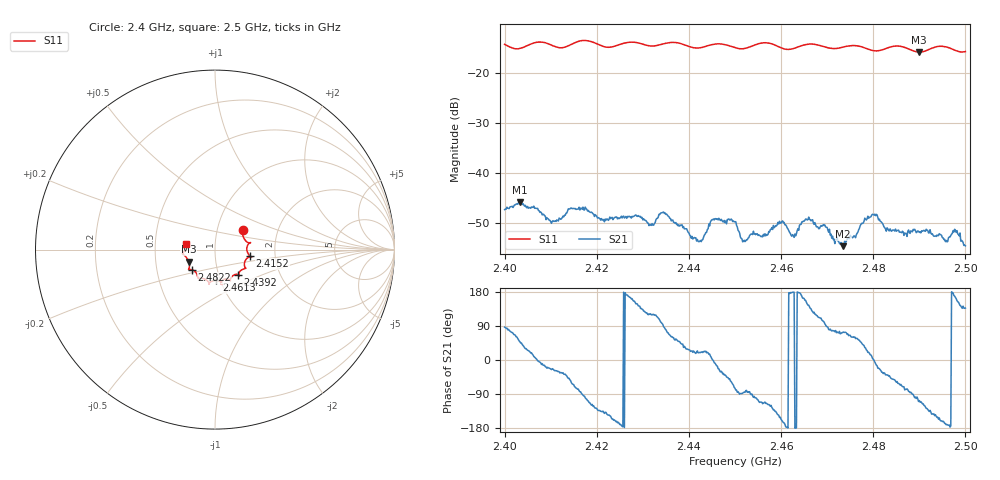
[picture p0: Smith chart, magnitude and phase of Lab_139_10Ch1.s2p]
# Hz S RI R 50
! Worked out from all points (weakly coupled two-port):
!   601 points, 2.4 GHz to 2.5 GHz, reference 50 ohm
!   highest |S21| = -45.77 dB at 2.4033 GHz (marker M1); lowest = -54.6 dB at 2.4735 GHz (marker M2)
!   lowest |S11| = -15.9 dB at 2.4898 GHz (marker M3), VSWR 1.38, Z = 37 - j5.04 ohm
!   |S11| at or under -10 dB: start of sweep to end of sweep
!   S12 and S22 are empty: the file has one direction only
!   S11 on the Smith chart (normalised r, x): 2.4 GHz: 1.33, +0.31; 2.4152 GHz: 1.48, -0.11; 2.4392 GHz: 1.23, -0.36; 2.4613 GHz: 0.96, -0.34; 2.4822 GHz: 0.76, -0.17; 2.5 GHz: 0.72, +0.05
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2.4e9  0.1559 0.1113  0.000247 0.00432  0 0  0 0
2.403333e9  0.1648 0.0568  0.00345 0.00382  0 0  0 0
2.410333e9  0.1847 0.0287  0.00304 -0.00129  0 0  0 0
2.415167e9  0.1947 -0.0356  0.0015 -0.00416  0 0  0 0
2.416667e9  0.2043 -0.0418  0.000159 -0.00446  0 0  0 0
2.421167e9  0.1774 -0.0497  -0.00247 -0.00235  0 0  0 0
2.433333e9  0.1333 -0.1323  -0.0013 0.0034  0 0  0 0
2.439167e9  0.1272 -0.1388  0.00232 0.00155  0 0  0 0
2.4425e9  0.0942 -0.1501  0.00201 0.000711  0 0  0 0
2.445333e9  0.0846 -0.1722  0.00349 -0.000136  0 0  0 0
2.45e9  0.0686 -0.1639  0.000866 -0.00316  0 0  0 0
2.452167e9  0.0446 -0.1688  0.000169 -0.00207  0 0  0 0
2.461333e9  0.0076 -0.1705  -0.00284 -0.000127  0 0  0 0
2.462667e9  -0.0118 -0.1735  -0.00238 4.35e-05  0 0  0 0
2.466667e9  -0.0331 -0.19  -0.00218 0.0026  0 0  0 0
2.4735e9  -0.082 -0.1603  0.000519 0.0018  0 0  0 0
2.479833e9  -0.1053 -0.129  0.00388 0.000307  0 0  0 0
2.482167e9  -0.128 -0.1122  0.00247 -0.00179  0 0  0 0
2.483333e9  -0.1394 -0.1106  0.00198 -0.00181  0 0  0 0
2.489833e9  -0.1458 -0.0663  -0.000876 -0.00248  0 0  0 0
2.497833e9  -0.1668 -0.00256  -0.0026 0.000677  0 0  0 0
2.5e9  -0.1588 0.0335  -0.00138 0.00129  0 0  0 0
